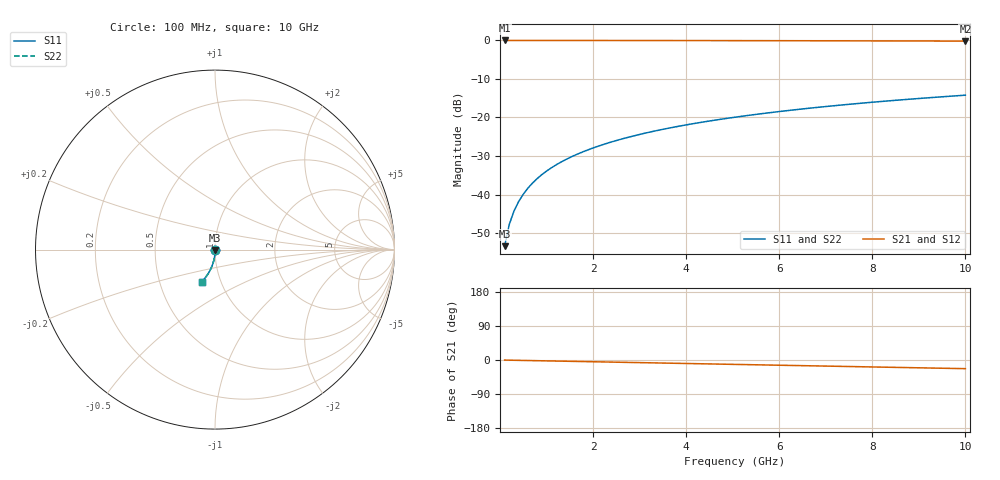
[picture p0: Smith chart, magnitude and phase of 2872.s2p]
# Hz S RI R 50.00
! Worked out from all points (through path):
!   100 points, 100 MHz to 10 GHz, reference 50 ohm
!   highest |S21| = -0.01 dB at 100 MHz (marker M1); lowest = -0.2 dB at 10 GHz (marker M2)
!   group delay of S21, straight-line fit = 6.35 ps
!   lowest |S11| = -53.4 dB at 100 MHz (marker M3), VSWR 1.00, Z = 50.1 - j0.202 ohm
!   |S11| at or under -10 dB: start of sweep to end of sweep
!   |S22| runs from -53.4 to -14.2 dB; largest |S21 - S12| = 0
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1e8  0.000714 -0.00201  0.9993 -0.00401  0.9993 -0.00401  0.000714 -0.00201
2e8  0.000692 -0.00403  0.9992 -0.00803  0.9992 -0.00803  0.000692 -0.00403
3e8  0.000652 -0.00604  0.9992 -0.012  0.9992 -0.012  0.000652 -0.00604
4e8  0.000595 -0.00806  0.9991 -0.0161  0.9991 -0.0161  0.000595 -0.00806
5e8  0.000522 -0.0101  0.999 -0.0201  0.999 -0.0201  0.000522 -0.0101
6e8  0.000433 -0.0121  0.9989 -0.0241  0.9989 -0.0241  0.000433 -0.0121
7e8  0.000327 -0.0141  0.9987 -0.0281  0.9987 -0.0281  0.000327 -0.0141
8e8  0.000205 -0.0161  0.9986 -0.0321  0.9986 -0.0321  0.000205 -0.0161
9e8  6.61e-05 -0.0181  0.9984 -0.0361  0.9984 -0.0361  6.61e-05 -0.0181
1.1e9  -0.00026 -0.0221  0.998 -0.0441  0.998 -0.0441  -0.00026 -0.0221
1.4e9  -0.000869 -0.0281  0.9972 -0.0561  0.9972 -0.0561  -0.000869 -0.0281
1.8e9  -0.00191 -0.0361  0.9959 -0.0721  0.9959 -0.0721  -0.00191 -0.0361
2.1e9  -0.00286 -0.0421  0.9947 -0.0841  0.9947 -0.0841  -0.00286 -0.0421
2.5e9  -0.00434 -0.05  0.9929 -0.1  0.9929 -0.1  -0.00434 -0.05
2.9e9  -0.00608 -0.0579  0.9907 -0.1159  0.9907 -0.1159  -0.00608 -0.0579
3.4e9  -0.00861 -0.0676  0.9875 -0.1357  0.9875 -0.1357  -0.00861 -0.0676
4.2e9  -0.0135 -0.083  0.9814 -0.1671  0.9814 -0.1671  -0.0135 -0.083
5.1e9  -0.0201 -0.0998  0.9731 -0.202  0.9731 -0.202  -0.0201 -0.0998
5.9e9  -0.0269 -0.1143  0.9645 -0.2325  0.9645 -0.2325  -0.0269 -0.1143
6.7e9  -0.0347 -0.1283  0.9546 -0.2626  0.9546 -0.2626  -0.0347 -0.1283
8.4e9  -0.0539 -0.1562  0.9301 -0.3247  0.9301 -0.3247  -0.0539 -0.1562
1e10  -0.0751 -0.1796  0.9028 -0.3805  0.9028 -0.3805  -0.0751 -0.1796
